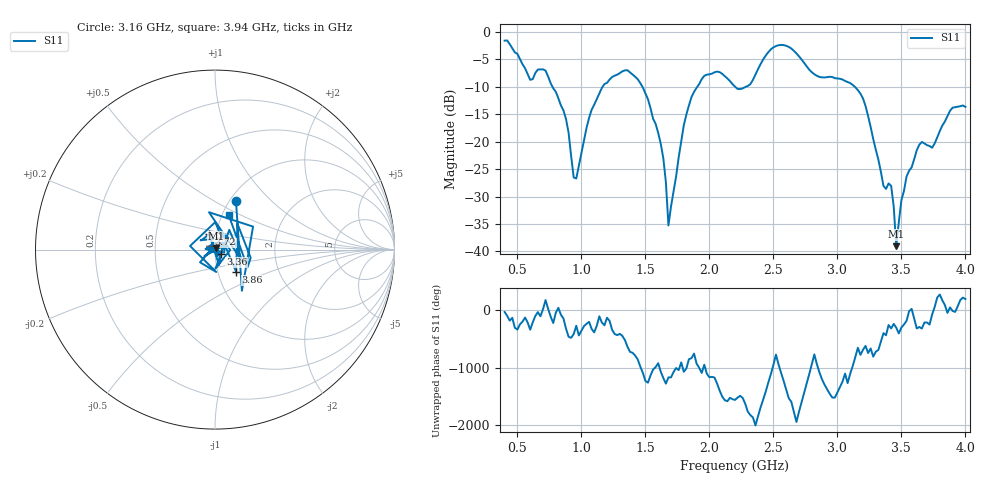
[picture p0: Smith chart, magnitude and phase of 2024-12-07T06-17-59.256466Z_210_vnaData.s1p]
!Created with skrf (http://scikit-rf.org).
# Hz S RI R 50.0
!freq ReS11 ImS11
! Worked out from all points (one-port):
!   181 points, 400 MHz to 4 GHz, reference 50 ohm
!   lowest |S11| = -39.0 dB at 3.46 GHz (marker M1), VSWR 1.02, Z = 50.6 + j0.937 ohm
!   |S11| at or under -10 dB: 774.2 MHz to 1.166 GHz (391.3 MHz wide, 40.3 % of centre); 1.477 GHz to 1.905 GHz (428.2 MHz wide, 25.3 % of centre); 3.136 GHz to end of sweep (the widest 3 of 4)
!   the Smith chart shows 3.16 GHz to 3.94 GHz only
!   S11 on the Smith chart (normalised r, x): 3.16 GHz: 1.07, +0.63; 3.36 GHz: 1.06, -0.05; 3.72 GHz: 0.92, +0.16; 3.86 GHz: 1.22, -0.31; 3.94 GHz: 1.07, +0.44
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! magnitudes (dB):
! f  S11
! 400 MHz  -1.6
! 600 MHz  -8.7
! 720 MHz  -7.1
! 860 MHz  -14.3
! 960 MHz  -26.7
! 1.08 GHz  -14.2
! 1.3 GHz  -7.5
! 1.52 GHz  -12.3
! 1.64 GHz  -23.0
! 1.68 GHz  -35.3
! 1.76 GHz  -22.9
! 1.86 GHz  -11.9
! 1.96 GHz  -8.0
! 2.2 GHz  -10.0
! 2.5 GHz  -2.8
! 2.66 GHz  -3.4
! 3.1 GHz  -9.3
! 3.16 GHz  -10.6
! 3.36 GHz  -28.1
! 3.42 GHz  -28.0
! 3.46 GHz  -39.0
! 3.5 GHz  -30.7
! 3.56 GHz  -25.3
! 3.64 GHz  -20.5
! 3.72 GHz  -20.8
! 3.86 GHz  -15.4
! 3.94 GHz  -13.6
! 4 GHz  -13.7
